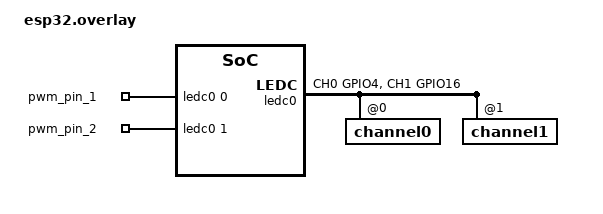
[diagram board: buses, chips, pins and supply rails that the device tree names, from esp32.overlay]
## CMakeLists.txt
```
# SPDX-License-Identifier: Apache-2.0

set(BOARD esp32_devkitc_wroom/esp32/procpu)

# Add the overlay file
set(DTC_OVERLAY_FILE esp32.overlay)

cmake_minimum_required(VERSION 3.20.0)

find_package(zephyr REQUIRED HINTS $ENV{ZEPHYR_BASE})

project(esp32_motor_ctrl)

target_sources(app PRIVATE src/main.cpp)
target_sources(app PRIVATE src/hbridge.cpp)
target_sources(app PRIVATE src/BSED.cpp)
target_sources(app PRIVATE src/controlLoop.cpp)
```

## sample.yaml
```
sample:
  description: example with a motor, BSED, and control loop
  name: esp32 motor control
```

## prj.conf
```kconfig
CONFIG_PWM=y
CONFIG_CPP=y
CONFIG_I2C=y
CONFIG_GLIBCXX_LIBCPP=y
CONFIG_NEWLIB_LIBC=y
CONFIG_NEWLIB_LIBC_FLOAT_PRINTF=y
```

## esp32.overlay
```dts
/ {
	aliases {
		pin1=&pwm_pin_1;
		pin2=&pwm_pin_2;
		i2cport=&i2c0;
	};

	pwmleds {
		compatible = "pwm-leds";
		pwm_pin_1: pwm_pin_1 {
			pwms = <&ledc0 0 PWM_HZ(2000) PWM_POLARITY_NORMAL>;
		};
		pwm_pin_2: pwm_pin_2 {
			pwms = <&ledc0 1 PWM_HZ(2000) PWM_POLARITY_NORMAL>;
		};
	};
};

&pinctrl {
        ledc0_pinctrl: ledc0_pinctrl {
	        pwm_group {
		        pinmux = <LEDC_CH0_GPIO4>,
					<LEDC_CH1_GPIO16>;
			output-enable;
		};
	};
};

&ledc0{
	pinctrl-0=<&ledc0_pinctrl>;
	pinctrl-names = "default";
	status="okay";
	#address-cells = <1>;
	#size-cells = <0>;
	channel0@0 {
	        reg = <0x0>;
		timer = <0>;
	};
	channel1@1 {
	        reg = <0x1>;
		timer = <0>;
	};
};
```

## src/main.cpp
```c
#include <stdio.h>
#include <zephyr/drivers/i2c.h>
#include <zephyr/kernel.h>
#include <zephyr/sys/time_units.h>
#include <zephyr/sys/util_macro.h>

#include "BSED.h"
#include "controlLoop.h"
#include "hbridge.h"

const struct pwm_dt_spec pin1 = PWM_DT_SPEC_GET(DT_ALIAS(pin1));
const struct pwm_dt_spec pin2 = PWM_DT_SPEC_GET(DT_ALIAS(pin2));

HBridge hbridge1 = HBridge(pin1, pin2);

#if DT_NODE_HAS_STATUS(DT_ALIAS(i2cport), okay)
#define I2C_DEV_NODE DT_ALIAS(i2cport)
#else
#error "Please set the correct I2C device"
#endif

const struct device* i2c_dev = DEVICE_DT_GET(I2C_DEV_NODE);

uint32_t i2c_cfg = I2C_SPEED_SET(I2C_SPEED_STANDARD) | I2C_MODE_CONTROLLER;

const uint16_t address = 14;

void write(uint8_t data)
{
    i2c_write(i2c_dev, &data, 1, address);
}

int16_t read()
{
    uint8_t data;
    if (i2c_read(i2c_dev, &data, 1, address) == 0) {
        return data;
    } else {
        return -1;
    }
}

uint32_t time()
{
    return (uint64_t)k_cycle_get_32() * 1000000 / CONFIG_SYS_CLOCK_HW_CYCLES_PER_SEC;
}

void delayMicros(uint32_t us)
{
    k_sleep(K_USEC(us));
}

int main(void)
{
    if (!hbridge1.begin()) {
        printf("Failed to initialize HBridge\n");
        return 1;
    }

    uint32_t i2c_cfg_tmp;

    if (!device_is_ready(i2c_dev)) {
        printf("I2C device is not ready\n");
        return 1;
    }

    /* 1. Verify i2c_configure() */
    if (i2c_configure(i2c_dev, i2c_cfg)) {
        printf("I2C config failed\n");
        return 1;
    }

    /* 2. Verify i2c_get_config() */
    if (i2c_get_config(i2c_dev, &i2c_cfg_tmp)) {
        printf("I2C get_config failed\n");
        return 1;
    }
    if (i2c_cfg != i2c_cfg_tmp) {
        printf("I2C get_config returned invalid config\n");
        return 1;
    }

    BSED bsed = BSED(write, read, time, delayMicros);
    bsed.begin();

    hbridge1.enable();

    unsigned long lastTime = time();

    float targetVelocity;

    ControlLoop controlLoop = ControlLoop(0.001, 0.001, 0.00005, 1.0 / 100, 10);

    while (true) {
        unsigned long now = time();
        if (now - lastTime > 10000) { // 100Hz

            // for 5 seconds set targetVelocity to 2000 then for 3 seconds set targetVelocity to -1000
            if((now%8000000) < 5000000){
                targetVelocity = 2000;
            } else {
                targetVelocity = -1000;
            }

            lastTime = now;
            bsed.run();
            float encoder1 = bsed.getEncoderVelocity(1);
            float error = targetVelocity - encoder1;
            float output = 0;
            output = controlLoop.calculate(error);
            printf("Encoder1: %f, Error: %f, Output: %f\n", (double)encoder1, (double)error, (double)output);
            hbridge1.setSpeed(output);
        }
    }

    return 0;
}
```

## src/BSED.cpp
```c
#include "BSED.h"
#include <cstdint>
#include <stdio.h>
#include <stdlib.h>
#include <string.h>
#define READ_IS_BIT_SET(value, bit) ((((value) >> (bit)) & (0x1)) != 0)

// void write(uint8_t data)
// {
//     i2c_write(i2c_dev, &data, 1, address);
// }
// int16_t read()
// {
//     uint8_t data;
//     if (i2c_read(i2c_dev, &data, 1, address) == 0) {
//         return data;
//     } else {
//         return -1;
//     }
// }
// uint32_t time()
// {
//     return k_ticks_to_us_floor32(k_cycle_get_32());
// }
// void delayMicros(uint32_t us)
// {
//     k_sleep(K_USEC(us));
// }

BSED::BSED(void _write(uint8_t), int16_t _read(), uint32_t _time(), void _delayMicros(uint32_t), int16_t _encoderSlowestInterval, int16_t _encoderEnoughCounts)
{
    write = _write;
    read = _read;
    time = _time;
    delayMicros = _delayMicros;

    whichEncodersMask = 255;

    // memset encoderCount[] all 0
    memset(encoderCount, 0, 8 * sizeof(int16_t));
    memset(encoderOverflows, 0, 8 * sizeof(int16_t));
    memset(lastEncoderCount, 0, 8 * sizeof(int16_t));
    memset(lastVelocityEncoderCount, 0, 8 * sizeof(int16_t));
    memset(lastReadMicros, 0, 8 * sizeof(unsigned long));
    memset(encoderVelocity, 0, 8 * sizeof(int16_t));
    memset(encoderSlowestInterval, _encoderSlowestInterval, 8 * sizeof(int16_t));
    memset(encoderEnoughCounts, _encoderEnoughCounts, 8 * sizeof(int16_t));
    memset(isVelNewVal, 0, 8 * sizeof(bool));
}

void BSED::setEncoderSlowestInterval(uint8_t n, int16_t interval)
{
    if (n > 8) {
        return;
    }
    if (n == 0) {
        for (uint8_t i = 0; i < 8; i++) {
            encoderSlowestInterval[i] = interval;
        }
        return;
    }
    encoderSlowestInterval[n - 1] = interval;
}

void BSED::setEncoderEnoughCounts(uint8_t n, int16_t counts)
{
    if (n > 8) {
        return;
    }
    if (n == 0) {
        for (uint8_t i = 0; i < 8; i++) {
            encoderEnoughCounts[i] = counts;
        }
        return;
    }
    encoderEnoughCounts[n - 1] = counts;
}

bool BSED::isVelNew(uint8_t n)
{
    if (n > 8 || n < 1) {
        return false;
    }
    bool temp = isVelNewVal[n - 1];
    isVelNewVal[n - 1] = false;
    return temp;
}

void BSED::begin(bool resetEncoders)
{
    setWhichEncoders(255);
    if (resetEncoders) {
        resetEncoderPositions();
    }
}

void BSED::run()
{
    write(whichEncodersMask);
    delayMicros(50); // time for the board to prepare to respond
    for (uint8_t i = 0; i < 8; i++) {
        if (READ_IS_BIT_SET(whichEncodersMask, 7 - i) == 0) {
            continue;
        }
        int high = -1;
        int low = -1;
        high = read();
        low = read();
        if (high == -1 || low == -1) {
            // we didn't get data
        } else {
            lastEncoderCount[i] = encoderCount[i];
            encoderCount[i] = (((uint16_t)high) << 8 | ((uint16_t)low));
            if (abs(encoderCount[i] - lastEncoderCount[i]) > (1 << 15)) {
                encoderOverflows[i] += (encoderCount[i] > lastEncoderCount[i]) ? -1 : 1;
            }
            // calculate velocity
            uint32_t mic = time();
            int32_t hundredMicrosSinceLastRead = (mic - lastReadMicros[i]) / 100; // using a time interval of 100 microseconds (won't overflow int32)
            if (hundredMicrosSinceLastRead > 0 && (hundredMicrosSinceLastRead > (int32_t)(encoderSlowestInterval[i] * 10) || abs(encoderCount[i] - lastVelocityEncoderCount[i]) > encoderEnoughCounts[i])) {
                lastReadMicros[i] = mic;
                encoderVelocity[i] = (int32_t)10000 * (encoderCount[i] - lastVelocityEncoderCount[i]) / hundredMicrosSinceLastRead;
                lastVelocityEncoderCount[i] = encoderCount[i];
                isVelNewVal[i] = true;
            }
        }
    }
}

int32_t BSED::getEncoderPosition(uint8_t n, bool read)
{
    if (read) {
        run();
    }
    if (n > 8 || n < 1) {
        return 0;
    }
    return (int32_t)encoderCount[n - 1] + (int32_t)encoderOverflows[n - 1] * 65536;
}

int16_t BSED::getEncoderPositionWithoutOverflows(uint8_t n, bool read)
{
    if (read) {
        run();
    }
    if (n > 8 || n < 1) {
        return 0;
    }
    return encoderCount[n - 1];
}

int16_t BSED::getEncoderVelocity(uint8_t n, bool read)
{
    if (read) {
        run();
    }
    if (n > 8 || n < 1) {
        return 0;
    }
    return encoderVelocity[n - 1];
}

void BSED::resetEncoderPositions(bool resetVariables)
{
    write(0);
    if (resetVariables) {
        for (uint8_t i = 0; i < 8; i++) {
            encoderCount[i] = 0;
            encoderOverflows[i] = 0;
            lastEncoderCount[i] = 0;
            encoderVelocity[i] = 0;
        }
    }
}

void BSED::setWhichEncoders(uint8_t mask)
{
    if (mask != 0) {
        whichEncodersMask = mask;
        write(mask);
    }
}

bool BSED::isEncoderActive(uint8_t n)
{
    if (n > 8 || n < 1) {
        return false;
    }
    return READ_IS_BIT_SET(whichEncodersMask, 7 - (n - 1));
}
```

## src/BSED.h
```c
#ifndef BSED_H
#define BSED_H
#include <cstdint>

class BSED {
protected:
    uint8_t address;
    uint8_t whichEncodersMask;
    int16_t encoderCount[8];
    int16_t encoderOverflows[8];
    int16_t lastEncoderCount[8];
    int16_t lastVelocityEncoderCount[8];
    uint32_t lastReadMicros[8];
    int16_t encoderVelocity[8];
    int16_t encoderSlowestInterval[8];
    int16_t encoderEnoughCounts[8];
    bool isVelNewVal[8];

    void (*write)(uint8_t);
    int16_t (*read)();
    uint32_t (*time)();
    void (*delayMicros)(uint32_t);

public:
    BSED(void _write(uint8_t), int16_t _read(), uint32_t _time(), void _delayMicros(uint32_t), int16_t _encoderSlowestInterval = 0, int16_t _encoderEnoughCounts = 0);

    void setEncoderSlowestInterval(uint8_t n, int16_t interval);
    void setEncoderEnoughCounts(uint8_t n, int16_t counts);
    bool isVelNew(uint8_t n);
    void begin(bool resetEncoders = true);
    void run();
    int32_t getEncoderPosition(uint8_t n, bool read = false);
    int16_t getEncoderPositionWithoutOverflows(uint8_t n, bool read = false);
    int16_t getEncoderVelocity(uint8_t n, bool read = false);
    void resetEncoderPositions(bool resetVariables = true);
    void setWhichEncoders(uint8_t mask);
    bool isEncoderActive(uint8_t n);
};

#endif // BSED_H
```

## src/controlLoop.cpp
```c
#include "controlLoop.h"
#include <vector>
#include <stdio.h>
// difference equation control loop - can run any control loop, not just PID
// References:
//   https://www.scilab.org/discrete-time-pid-controller-implementation
//   Notes from Control Systems class with Professor Ahmed Zaki, Brown University
//   https://www.mathworks.com/help/control/ug/discrete-time-proportional-integral-derivative-pid-controller.html
ControlLoop::ControlLoop(std::vector<float> _a, std::vector<float> _b)
{
    a = _a;
    b = _b;
    u = std::vector<float>(a.size(), 0);
    e = std::vector<float>(b.size(), 0);
}

ControlLoop::ControlLoop(float Kp, float Ki, float Kd, float Ts, float N)
{
    float a0 = (1 + N * Ts);
    float a1 = -(2 + N * Ts);
    float a2 = 1;
    float b0 = Kp * (1 + N * Ts) + Ki * Ts * (1 + N * Ts) + Kd * N;
    float b1 = -(Kp * (2 + N * Ts) + Ki * Ts + 2 * Kd * N);
    float b2 = Kp + Kd * N;

    a = { 0, a1 / a0, a2 / a0 };
    b = { b0 / a0, b1 / a0, b2 / a0 };

    u = std::vector<float>(a.size(), 0);
    e = std::vector<float>(b.size(), 0);
}

/**
 * @brief  this runs a step of the control loop
 * @note   run this at a fixed rate
 * @param  error: error input to the control loop
 * @retval output of the control loop
 */
float ControlLoop::calculate(float error)
{
    for (std::size_t i = e.size() - 1; i > 0; i--) {
        e[i] = e[i - 1];
    }
    e[0] = error;
    for (std::size_t i = u.size() - 1; i > 0; i--) {
        u[i] = u[i - 1];
    }
    u[0] = 0;
    for (std::size_t i = 1; i < a.size(); i++) {
        u[0] += -a[i] * u[i];
    }
    for (std::size_t i = 0; i < b.size(); i++) {
        u[0] += b[i] * e[i];
    }
    return u[0];
}
```

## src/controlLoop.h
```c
#ifndef CONTROL_LOOP_H
#define CONTROL_LOOP_H
#include <vector>
class ControlLoop {
public:
    ControlLoop(std::vector<float> _a, std::vector<float> _b);
    ControlLoop(float Kp, float Ki, float Kd, float Ts, float N = 0);
    float calculate(float error);

private:
    std::vector<float> a;
    std::vector<float> b;
    std::vector<float> u;
    std::vector<float> e;
};

#endif // CONTROL_LOOP_H
```

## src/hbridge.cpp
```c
#include "hbridge.h"
#include <stdio.h>

HBridge::HBridge(const struct pwm_dt_spec& pin1, const struct pwm_dt_spec& pin2)
    : pin1(&pin1)
    , pin2(&pin2)
{
    enabled = false;
}

bool HBridge::begin()
{
    if (!pwm_is_ready_dt(pin1)) {
        printf("pin1 PWM device not ready\n");
        return false;
    }
    if (!pwm_is_ready_dt(pin2)) {
        printf("pin2 PWM device not ready\n");
        return false;
    }

    if (pwm_set_pulse_dt(pin1, 0)) {
        printf("Failed to set pin1 PWM pulse\n");
        return false;
    }
    if (pwm_set_pulse_dt(pin2, 0)) {
        printf("Failed to set pin2 PWM pulse\n");
        return false;
    }
    return true;
}
void HBridge::setSpeed(float speed)
{
    if (!enabled) {
        return;
    }
    if (speed > 1) {
        speed = 1;
    }
    if (speed < -1) {
        speed = -1;
    }
    if (speed > 0) {
        pwm_set_pulse_dt(pin1, speed * pin1->period);
        pwm_set_pulse_dt(pin2, 0);
    } else if (speed < 0) {
        pwm_set_pulse_dt(pin1, 0);
        pwm_set_pulse_dt(pin2, -speed * pin2->period);
    } else {
        pwm_set_pulse_dt(pin1, 0);
        pwm_set_pulse_dt(pin2, 0);
    }
}
void HBridge::setEnable(bool enable)
{
    if (enable == false) {
        pwm_set_pulse_dt(pin1, 0);
        pwm_set_pulse_dt(pin2, 0);
    }
    enabled = enable;
}
void HBridge::enable()
{
    setEnable(true);
}
void HBridge::disable()
{
    setEnable(false);
}
```
